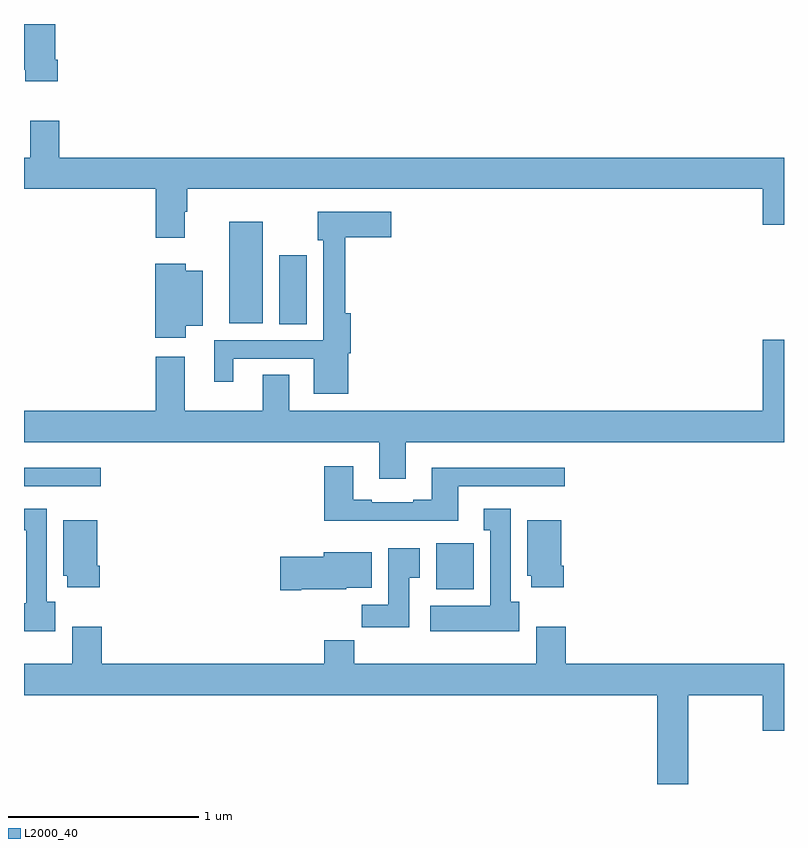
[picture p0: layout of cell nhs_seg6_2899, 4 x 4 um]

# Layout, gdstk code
import gdstk
lib = gdstk.Library(unit=1e-6, precision=1e-09)
def R(c, l, rs):  # rectangles x0, y0, x1, y1
    for r in rs: c.add(gdstk.rectangle(r[:2], r[2:], *l))
def P(c, l, *ps):  # polygons
    for p in ps: c.add(gdstk.Polygon(p, *l))
L2000_40 = (2000, 40)

nhs_seg6_2899 = lib.new_cell('nhs_seg6_2899')
R(nhs_seg6_2899, L2000_40, [(283.169,982.526,283.366,982.768), (281,983.067,281.404,983.164), (282.344,983.92,282.487,984.283), (282.08,983.924,282.256,984.46)])
P(nhs_seg6_2899, L2000_40, [(281.177,985.312),(281.164,985.312),(281.164,985.5),(281,985.5),(281,985.26),(281.006,985.26),(281.006,985.2),(281.177,985.2)],
  [(281.845,984.512),(281.858,984.512),(281.858,984.632),(284.888,984.632),(284.888,984.444),(285,984.444),(285,984.796),(281.186,984.796),(281.186,984.991),(281.033,984.991),(281.033,984.796),(281,984.796),(281,984.632),(281.693,984.632),(281.693,984.375),(281.845,984.375)],
  [(282.706,983.766),(282.719,983.766),(282.719,983.977),(282.692,983.977),(282.692,984.377),(282.934,984.377),(282.934,984.511),(282.545,984.511),(282.545,984.363),(282.576,984.363),(282.576,983.835),(282.002,983.835),(282.002,983.616),(282.1,983.616),(282.1,983.739),(282.524,983.739),(282.524,983.555),(282.706,983.555)],
  [(281.851,983.912),(281.941,983.912),(281.941,984.202),(281.851,984.202),(281.851,984.238),(281.69,984.238),(281.69,983.85),(281.851,983.85)],
  [(282.869,983.106),(283.009,983.106),(283.009,983.3),(285,983.3),(285,983.839),(284.888,983.839),(284.888,983.464),(282.397,983.464),(282.397,983.654),(282.257,983.654),(282.257,983.464),(281.845,983.464),(281.845,983.749),(281.693,983.749),(281.693,983.464),(281,983.464),(281,983.3),(282.869,983.3)],
  [(283.285,983.067),(283.846,983.067),(283.846,983.164),(283.145,983.164),(283.145,982.996),(283.049,982.996),(283.049,982.983),(282.829,982.983),(282.829,982.996),(282.733,982.996),(282.733,983.173),(282.581,983.173),(282.581,982.886),(283.285,982.886)],
  [(283.606,982.458),(283.561,982.458),(283.561,982.948),(283.421,982.948),(283.421,982.835),(283.454,982.835),(283.454,982.438),(283.137,982.438),(283.137,982.304),(283.606,982.304)],
  [(281.164,982.458),(281.119,982.458),(281.119,982.948),(281,982.948),(281,982.835),(281.012,982.835),(281.012,982.452),(281,982.452),(281,982.304),(281.164,982.304)],
  [(281.399,982.648),(281.386,982.648),(281.386,982.888),(281.207,982.888),(281.207,982.596),(281.228,982.596),(281.228,982.536),(281.399,982.536)],
  [(283.841,982.648),(283.828,982.648),(283.828,982.888),(283.649,982.888),(283.649,982.596),(283.67,982.596),(283.67,982.536),(283.841,982.536)],
  [(283.027,982.585),(283.084,982.585),(283.084,982.741),(282.917,982.741),(282.917,982.444),(282.778,982.444),(282.778,982.326),(283.027,982.326)],
  [(282.46,982.526),(282.696,982.526),(282.696,982.532),(282.829,982.532),(282.829,982.72),(282.578,982.72),(282.578,982.697),(282.348,982.697),(282.348,982.519),(282.46,982.519)],
  [(284.497,981.968),(284.888,981.968),(284.888,981.78),(285,981.78),(285,982.132),(283.85,982.132),(283.85,982.327),(283.697,982.327),(283.697,982.132),(282.737,982.132),(282.737,982.256),(282.581,982.256),(282.581,982.132),(281.408,982.132),(281.408,982.327),(281.255,982.327),(281.255,982.132),(281,982.132),(281,981.968),(284.333,981.968),(284.333,981.5),(284.497,981.5)])

lib.write_gds('nhs_seg6_2899.gds')
